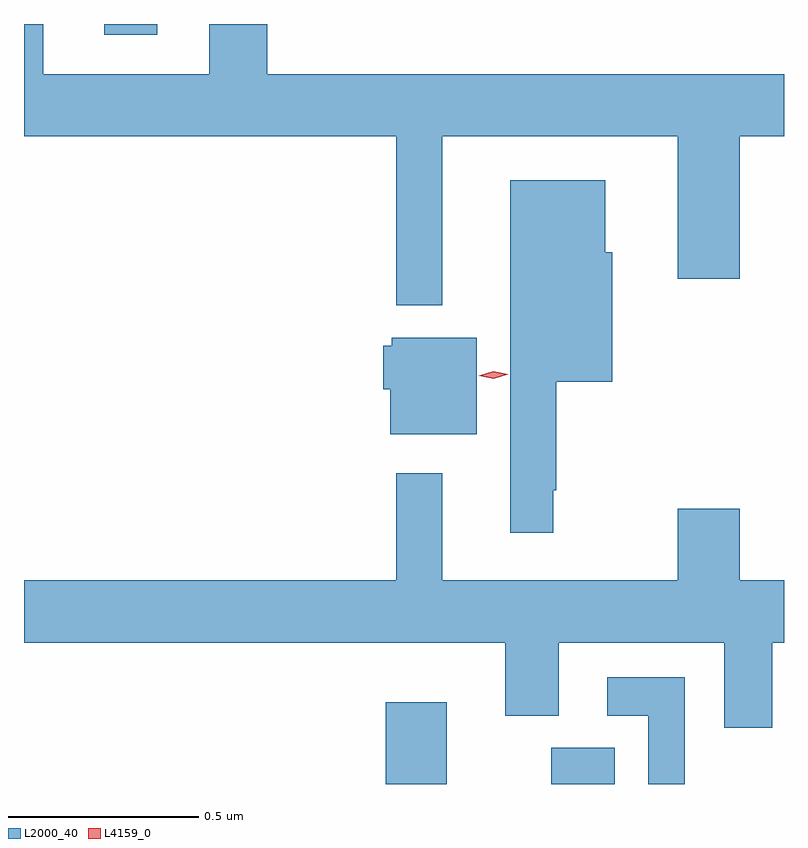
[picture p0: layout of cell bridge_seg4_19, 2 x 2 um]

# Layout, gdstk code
import gdstk
lib = gdstk.Library(unit=1e-6, precision=1e-09)
def R(c, l, rs):  # rectangles x0, y0, x1, y1
    for r in rs: c.add(gdstk.rectangle(r[:2], r[2:], *l))
def P(c, l, *ps):  # polygons
    for p in ps: c.add(gdstk.Polygon(p, *l))
L2000_40 = (2000, 40)
L4159_0 = (4159, 0)

bridge_seg4_19 = lib.new_cell('bridge_seg4_19')
R(bridge_seg4_19, L2000_40, [(1015.388,765.812,1015.549,766.027), (1015.823,765.812,1015.99,765.907), (1014.647,767.784,1014.787,767.812)])
P(bridge_seg4_19, L2000_40, [(1015.537,767.516),(1016.156,767.516),(1016.156,767.142),(1016.32,767.142),(1016.32,767.516),(1016.436,767.516),(1016.436,767.68),(1015.076,767.68),(1015.076,767.812),(1014.923,767.812),(1014.923,767.68),(1014.487,767.68),(1014.487,767.812),(1014.436,767.812),(1014.436,767.516),(1015.416,767.516),(1015.416,767.072),(1015.537,767.072)],
  [(1015.829,766.585),(1015.837,766.585),(1015.837,766.871),(1015.984,766.871),(1015.984,767.211),(1015.966,767.211),(1015.966,767.401),(1015.715,767.401),(1015.715,766.473),(1015.829,766.473)],
  [(1015.627,766.987),(1015.404,766.987),(1015.404,766.965),(1015.382,766.965),(1015.382,766.851),(1015.4,766.851),(1015.4,766.733),(1015.627,766.733)],
  [(1016.405,766.184),(1016.436,766.184),(1016.436,766.348),(1016.32,766.348),(1016.32,766.537),(1016.156,766.537),(1016.156,766.348),(1015.537,766.348),(1015.537,766.63),(1015.416,766.63),(1015.416,766.348),(1014.436,766.348),(1014.436,766.184),(1015.703,766.184),(1015.703,765.992),(1015.843,765.992),(1015.843,766.184),(1016.279,766.184),(1016.279,765.96),(1016.405,765.96)],
  [(1016.175,766.093),(1015.971,766.093),(1015.971,765.992),(1016.079,765.992),(1016.079,765.812),(1016.175,765.812)])
P(bridge_seg4_19, L4159_0, [(1015.672,766.878),(1015.633,766.886),(1015.633,766.887),(1015.633,766.887),(1015.671,766.898),(1015.71,766.89),(1015.71,766.89),(1015.71,766.89)])

lib.write_gds('bridge_seg4_19.gds')
